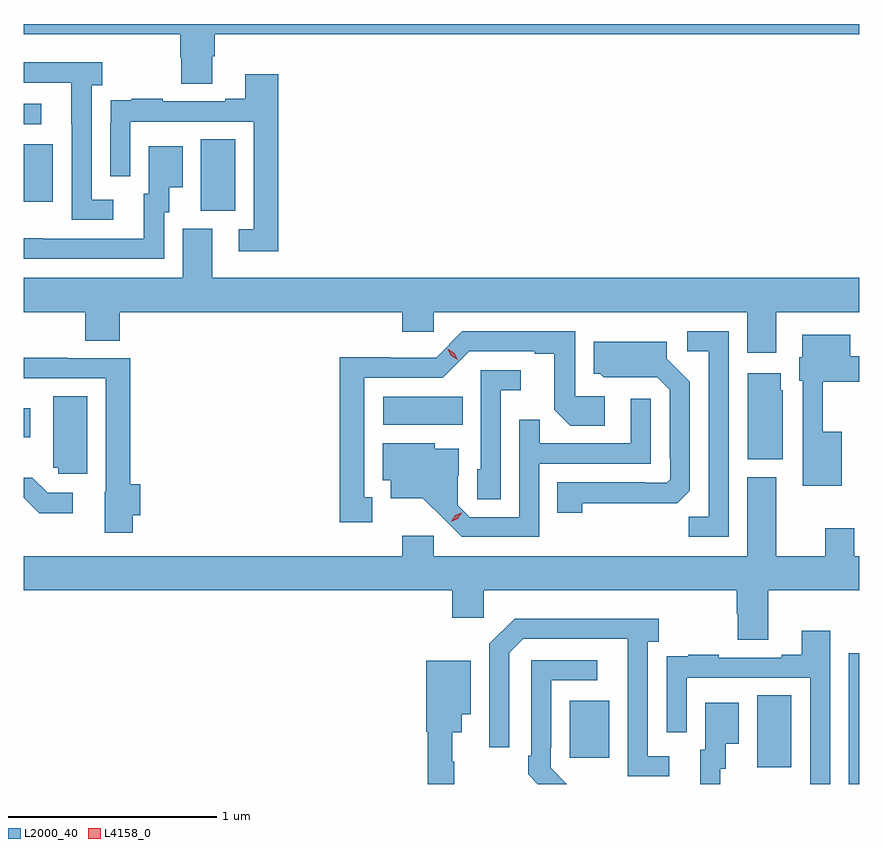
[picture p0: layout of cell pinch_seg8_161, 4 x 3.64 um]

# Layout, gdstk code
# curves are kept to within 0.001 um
import gdstk
lib = gdstk.Library(unit=1e-6, precision=1e-09)
def R(c, l, rs):  # rectangles x0, y0, x1, y1
    for r in rs: c.add(gdstk.rectangle(r[:2], r[2:], *l))
def P(c, l, *ps):  # polygons
    for p in ps: c.add(gdstk.Polygon(p, *l))
L2000_40 = (2000, 40)
L4158_0 = (4158, 0)

pinch_seg8_161 = lib.new_cell('pinch_seg8_161')
R(pinch_seg8_161, L2000_40, [(701.936,1160.941,702.1,1161.284), (701.039,1160.985,701.227,1161.259), (698.424,1162.52,698.455,1162.66), (700.146,1162.58,700.526,1162.714), (699.272,1163.605,699.436,1163.948), (698.424,1163.649,698.563,1163.923), (698.424,1164.021,698.506,1164.117)])
P(pinch_seg8_161, L2000_40, [(699.325,1164.346),(699.338,1164.346),(699.338,1164.452),(702.424,1164.452),(702.424,1164.5),(698.424,1164.5),(698.424,1164.452),(699.173,1164.452),(699.173,1164.339),(699.178,1164.339),(699.178,1164.214),(699.325,1164.214)],
  [(698.851,1163.658),(698.748,1163.658),(698.748,1164.206),(698.8,1164.206),(698.8,1164.316),(698.424,1164.316),(698.424,1164.219),(698.651,1164.219),(698.651,1164.019),(698.652,1164.019),(698.652,1163.562),(698.851,1163.562)],
  [(699.641,1164.259),(699.485,1164.259),(699.485,1164.142),(699.389,1164.142),(699.389,1164.129),(699.089,1164.129),(699.089,1164.142),(698.941,1164.142),(698.941,1164.135),(698.839,1164.135),(698.839,1164.026),(698.838,1164.026),(698.838,1163.772),(698.934,1163.772),(698.934,1164.033),(699.525,1164.033),(699.525,1163.517),(699.453,1163.517),(699.453,1163.412),(699.641,1163.412)],
  [(699.096,1163.598),(699.121,1163.598),(699.121,1163.717),(699.184,1163.717),(699.184,1163.914),(699.023,1163.914),(699.023,1163.688),(698.999,1163.688),(698.999,1163.472),(698.515,1163.472),(698.515,1163.473),(698.424,1163.473),(698.424,1163.376),(699.096,1163.376)],
  [(702.028,1163.12),(702.424,1163.12),(702.424,1163.284),(699.325,1163.284),(699.325,1163.52),(699.185,1163.52),(699.185,1163.284),(698.424,1163.284),(698.424,1163.12),(698.717,1163.12),(698.717,1162.984),(698.882,1162.984),(698.882,1163.12),(700.235,1163.12),(700.235,1163.027),(700.386,1163.027),(700.386,1163.12),(701.888,1163.12),(701.888,1162.926),(702.028,1162.926)],
  [(701.799,1163.028),(701.601,1163.028),(701.601,1162.932),(701.703,1162.932),(701.703,1162.139),(701.608,1162.139),(701.608,1162.044),(701.799,1162.044)],
  [(700.093,1162.233),(700.054,1162.233),(700.054,1162.806),(700.431,1162.806),(700.557,1162.932),(700.871,1162.932),(700.871,1162.92),(700.965,1162.92),(700.965,1162.652),(701.041,1162.576),(701.206,1162.576),(701.206,1162.716),(701.064,1162.716),(701.064,1163.028),(700.524,1163.028),(700.398,1162.902),(700.176,1162.902),(700.176,1162.904),(699.936,1162.904),(699.936,1162.113),(700.093,1162.113)],
  [(702.34,1162.546),(702.251,1162.546),(702.251,1162.787),(702.424,1162.787),(702.424,1162.909),(702.382,1162.909),(702.382,1163.011),(702.152,1163.011),(702.152,1162.905),(702.137,1162.905),(702.137,1162.791),(702.153,1162.791),(702.153,1162.289),(702.34,1162.289)],
  [(701.097,1162.204),(701.554,1162.205),(701.613,1162.264),(701.613,1162.786),(701.503,1162.896),(701.503,1162.978),(701.153,1162.978),(701.153,1162.824),(701.184,1162.824),(701.2,1162.808),(701.457,1162.809),(701.517,1162.749),(701.517,1162.42),(701.52,1162.42),(701.52,1162.32),(701.502,1162.302),(701.402,1162.302),(701.402,1162.305),(700.978,1162.305),(700.978,1162.158),(701.097,1162.158)],
  [(698.946,1162.146),(698.981,1162.146),(698.981,1162.295),(698.933,1162.295),(698.933,1162.899),(698.633,1162.899),(698.633,1162.902),(698.424,1162.902),(698.424,1162.803),(698.817,1162.803),(698.817,1162.26),(698.81,1162.26),(698.81,1162.064),(698.946,1162.064)],
  [(700.707,1162.745),(700.804,1162.745),(700.804,1162.842),(700.611,1162.842),(700.611,1162.368),(700.596,1162.368),(700.596,1162.225),(700.707,1162.225)],
  [(702.058,1162.746),(702.049,1162.746),(702.049,1162.828),(701.891,1162.828),(701.891,1162.415),(702.058,1162.415)],
  [(698.728,1162.718),(698.564,1162.718),(698.564,1162.374),(698.589,1162.374),(698.589,1162.347),(698.728,1162.347)],
  [(700.893,1162.395),(701.427,1162.395),(701.427,1162.705),(701.331,1162.705),(701.331,1162.491),(700.895,1162.491),(700.895,1162.604),(700.797,1162.604),(700.797,1162.137),(700.56,1162.137),(700.503,1162.194),(700.503,1162.336),(700.507,1162.336),(700.507,1162.465),(700.392,1162.465),(700.392,1162.492),(700.142,1162.492),(700.142,1162.316),(700.181,1162.316),(700.181,1162.229),(700.333,1162.229),(700.52,1162.044),(700.893,1162.044)],
  [(701.989,1161.788),(702.424,1161.788),(702.424,1161.952),(702.402,1161.952),(702.402,1162.084),(702.263,1162.084),(702.263,1161.952),(702.028,1161.952),(702.028,1162.33),(701.888,1162.33),(701.888,1161.952),(700.386,1161.952),(700.386,1162.048),(700.235,1162.048),(700.235,1161.952),(698.424,1161.952),(698.424,1161.788),(700.475,1161.788),(700.475,1161.657),(700.626,1161.657),(700.626,1161.788),(701.837,1161.788),(701.837,1161.675),(701.842,1161.675),(701.842,1161.55),(701.989,1161.55)],
  [(698.659,1162.254),(698.538,1162.254),(698.465,1162.327),(698.424,1162.327),(698.424,1162.23),(698.497,1162.157),(698.659,1162.157)],
  [(701.515,1160.994),(701.412,1160.994),(701.412,1161.542),(701.464,1161.542),(701.464,1161.652),(700.774,1161.652),(700.653,1161.531),(700.653,1161.036),(700.749,1161.036),(700.749,1161.489),(700.815,1161.555),(701.315,1161.555),(701.316,1160.898),(701.515,1160.898)],
  [(702.285,1161.595),(702.149,1161.595),(702.149,1161.478),(702.053,1161.478),(702.053,1161.465),(701.753,1161.465),(701.753,1161.478),(701.605,1161.478),(701.605,1161.471),(701.503,1161.471),(701.503,1161.362),(701.502,1161.362),(701.502,1161.108),(701.598,1161.108),(701.598,1161.369),(702.189,1161.369),(702.189,1160.86),(702.285,1160.86)],
  [(702.424,1161.487),(702.374,1161.487),(702.374,1161.247),(702.375,1161.247),(702.375,1160.86),(702.424,1160.86)],
  [(700.947,1160.937),(700.947,1161.037),(700.95,1161.037),(700.95,1161.357),(701.17,1161.357),(701.17,1161.453),(700.854,1161.453),(700.854,1160.995),(700.839,1160.995),(700.839,1160.907),(700.886,1160.86),(701.025,1160.86)],
  [(700.486,1160.967),(700.475,1160.967),(700.475,1161.107),(700.522,1161.107),(700.522,1161.194),(700.564,1161.194),(700.564,1161.451),(700.352,1161.451),(700.352,1161.111),(700.357,1161.111),(700.357,1160.86),(700.486,1160.86)],
  [(701.76,1160.934),(701.785,1160.934),(701.785,1161.053),(701.848,1161.053),(701.848,1161.25),(701.687,1161.25),(701.687,1161.024),(701.663,1161.024),(701.663,1160.86),(701.76,1160.86)])
P(pinch_seg8_161, L4158_0, [(700.471,1162.117),(700.471,1162.117),(700.489,1162.146),(700.519,1162.16),(700.52,1162.16),(700.52,1162.16),(700.502,1162.131),(700.471,1162.117)],
  [(700.503,1162.891),(700.471,1162.911),(700.454,1162.943),(700.454,1162.944),(700.455,1162.944),(700.486,1162.924),(700.503,1162.892),(700.503,1162.891)])

lib.write_gds('pinch_seg8_161.gds')
